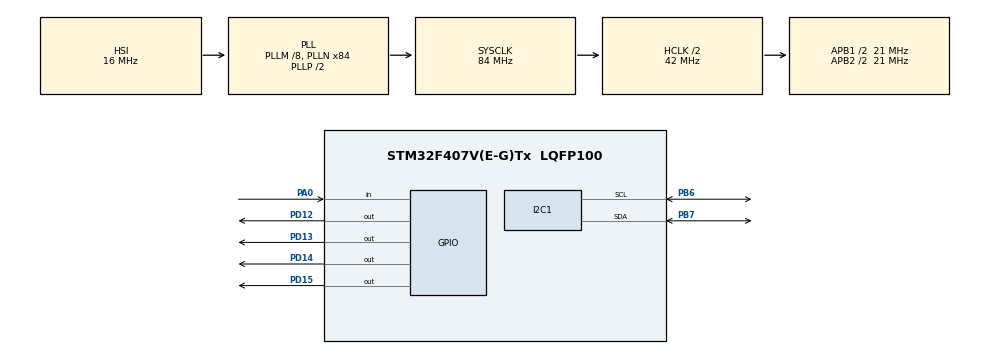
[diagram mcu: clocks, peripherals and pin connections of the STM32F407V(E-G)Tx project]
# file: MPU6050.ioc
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Mcu.Family=STM32F4
Mcu.Name=STM32F407V(E-G)Tx
Mcu.Package=LQFP100
NVIC.PriorityGroup=NVIC_PRIORITYGROUP_0
PA0-WKUP.Signal=GPIO_Input
PB6.Mode=I2C
PB6.Signal=I2C1_SCL
PB7.Mode=I2C
PB7.Signal=I2C1_SDA
PD12.Signal=GPIO_Output
PD13.Signal=GPIO_Output
PD14.Signal=GPIO_Output
PD15.Signal=GPIO_Output
ProjectManager.HeapSize=0x200
ProjectManager.StackSize=0x400
ProjectManager.TargetToolchain=STM32CubeIDE
RCC.48MHZClocksFreq_Value=24000000
RCC.AHBCLKDivider=RCC_SYSCLK_DIV2
RCC.AHBFreq_Value=42000000
RCC.APB1CLKDivider=RCC_HCLK_DIV2
RCC.APB1Freq_Value=21000000
RCC.APB1TimFreq_Value=42000000
RCC.APB2CLKDivider=RCC_HCLK_DIV2
RCC.APB2Freq_Value=21000000
RCC.APB2TimFreq_Value=42000000
RCC.CortexFreq_Value=42000000
RCC.HCLKFreq_Value=42000000
RCC.HSE_VALUE=8000000
RCC.HSI_VALUE=16000000
RCC.LSE_VALUE=32768
RCC.PLLM=8
RCC.PLLN=84
RCC.PLLQ=7
RCC.SYSCLKFreq_VALUE=84000000
RCC.SYSCLKSource=RCC_SYSCLKSOURCE_PLLCLK
RCC.VCOOutputFreq_Value=168000000
board=STM32F407G-DISC1

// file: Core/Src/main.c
/* USER CODE BEGIN Header */
/**
  ******************************************************************************
  * @file           : main.c
  * @brief          : Main program body
  ******************************************************************************
  * @attention
  *
  * Copyright (c) 2023 STMicroelectronics.
  * All rights reserved.
  *
  * This software is licensed under terms that can be found in the LICENSE file
  * in the root directory of this software component.
  * If no LICENSE file comes with this software, it is provided AS-IS.
  *
  ******************************************************************************
  */
/* USER CODE END Header */
#include "main.h"

/* USER CODE BEGIN Includes */
#include "TJ_MPU6050.h"
/* USER CODE END Includes */

I2C_HandleTypeDef hi2c1;

void SystemClock_Config(void);
static void MX_GPIO_Init(void);
static void MX_I2C1_Init(void);

/* USER CODE BEGIN 0 */
RawData_Def myAccelRAW, myGyroRAW;
ScaledData_Def myAccelSCALED, myGyroSCALED;
/* USER CODE END 0 */

int main(void)
{
  /* USER CODE BEGIN 1 */
	MPU_ConfigTypeDef myMPUConfig;
  /* USER CODE END 1 */

  /* MCU Configuration--------------------------------------------------------*/

  /* Reset of all peripherals, Initializes the Flash interface and the Systick. */
  HAL_Init();

  /* Configure the system clock */
  SystemClock_Config();

  /* Initialize all configured peripherals */
  MX_GPIO_Init();
  MX_I2C1_Init();
  /* USER CODE BEGIN 2 */

//1. Initialize the MPU6050 module
  MPU6050_Init(&hi2c1);

//2. Call the config
  myMPUConfig.Accel_Full_Scale = AFS_SEL_2g;
  myMPUConfig.CONFIG_DLPF = DLPF_184A_188G_Hz;
  myMPUConfig.ClockSource = Internal_8MHz;
  myMPUConfig.Gyro_Full_Scale = FS_SEL_2000;
  myMPUConfig.Sleep_Mode_Bit = 0;
  MPU6050_Config(&myMPUConfig);
  /* USER CODE END 2 */

  /* Infinite loop */
  while (1)
  {

    /* USER CODE BEGIN 3 */
	  //RAW Data
	  MPU6050_Get_Accel_RawData(&myAccelRAW);
	  MPU6050_Get_Gyro_RawData(&myGyroRAW);

	  HAL_GPIO_WritePin(GPIOD, GPIO_PIN_12, GPIO_PIN_SET);

	  //SCALE DATA
	  MPU6050_Get_Accel_Scale(&myAccelSCALED);
	  MPU6050_Get_Gyro_Scale(&myGyroSCALED);
	  HAL_Delay(100);

  }
  /* USER CODE END 3 */
}

void SystemClock_Config(void)
{
  RCC_OscInitTypeDef RCC_OscInitStruct = {0};
  RCC_ClkInitTypeDef RCC_ClkInitStruct = {0};

  /** Configure the main internal regulator output voltage
  */
  __HAL_RCC_PWR_CLK_ENABLE();
  __HAL_PWR_VOLTAGESCALING_CONFIG(PWR_REGULATOR_VOLTAGE_SCALE1);

  /** Initializes the RCC Oscillators according to the specified parameters
  * in the RCC_OscInitTypeDef structure.
  */
  RCC_OscInitStruct.OscillatorType = RCC_OSCILLATORTYPE_HSI;
  RCC_OscInitStruct.HSIState = RCC_HSI_ON;
  RCC_OscInitStruct.HSICalibrationValue = RCC_HSICALIBRATION_DEFAULT;
  RCC_OscInitStruct.PLL.PLLState = RCC_PLL_ON;
  RCC_OscInitStruct.PLL.PLLSource = RCC_PLLSOURCE_HSI;
  RCC_OscInitStruct.PLL.PLLM = 8;
  RCC_OscInitStruct.PLL.PLLN = 84;
  RCC_OscInitStruct.PLL.PLLP = RCC_PLLP_DIV2;
  RCC_OscInitStruct.PLL.PLLQ = 7;
  if (HAL_RCC_OscConfig(&RCC_OscInitStruct) != HAL_OK)
  {
    Error_Handler();
  }

  /** Initializes the CPU, AHB and APB buses clocks
  */
  RCC_ClkInitStruct.ClockType = RCC_CLOCKTYPE_HCLK|RCC_CLOCKTYPE_SYSCLK
                              |RCC_CLOCKTYPE_PCLK1|RCC_CLOCKTYPE_PCLK2;
  RCC_ClkInitStruct.SYSCLKSource = RCC_SYSCLKSOURCE_PLLCLK;
  RCC_ClkInitStruct.AHBCLKDivider = RCC_SYSCLK_DIV2;
  RCC_ClkInitStruct.APB1CLKDivider = RCC_HCLK_DIV2;
  RCC_ClkInitStruct.APB2CLKDivider = RCC_HCLK_DIV2;

  if (HAL_RCC_ClockConfig(&RCC_ClkInitStruct, FLASH_LATENCY_1) != HAL_OK)
  {
    Error_Handler();
  }
}

static void MX_I2C1_Init(void)
{

  hi2c1.Instance = I2C1;
  hi2c1.Init.ClockSpeed = 100000;
  hi2c1.Init.DutyCycle = I2C_DUTYCYCLE_2;
  hi2c1.Init.OwnAddress1 = 0;
  hi2c1.Init.AddressingMode = I2C_ADDRESSINGMODE_7BIT;
  hi2c1.Init.DualAddressMode = I2C_DUALADDRESS_DISABLE;
  hi2c1.Init.OwnAddress2 = 0;
  hi2c1.Init.GeneralCallMode = I2C_GENERALCALL_DISABLE;
  hi2c1.Init.NoStretchMode = I2C_NOSTRETCH_DISABLE;
  if (HAL_I2C_Init(&hi2c1) != HAL_OK)
  {
    Error_Handler();
  }

}

static void MX_GPIO_Init(void)
{
  GPIO_InitTypeDef GPIO_InitStruct = {0};

  /* GPIO Ports Clock Enable */
  __HAL_RCC_GPIOA_CLK_ENABLE();
  __HAL_RCC_GPIOD_CLK_ENABLE();
  __HAL_RCC_GPIOB_CLK_ENABLE();

  /*Configure GPIO pin Output Level */
  HAL_GPIO_WritePin(GPIOD, GPIO_PIN_12|GPIO_PIN_13|GPIO_PIN_14|GPIO_PIN_15, GPIO_PIN_RESET);

  /*Configure GPIO pin : PA0 */
  GPIO_InitStruct.Pin = GPIO_PIN_0;
  GPIO_InitStruct.Mode = GPIO_MODE_INPUT;
  GPIO_InitStruct.Pull = GPIO_NOPULL;
  HAL_GPIO_Init(GPIOA, &GPIO_InitStruct);

  /*Configure GPIO pins : PD12 PD13 PD14 PD15 */
  GPIO_InitStruct.Pin = GPIO_PIN_12|GPIO_PIN_13|GPIO_PIN_14|GPIO_PIN_15;
  GPIO_InitStruct.Mode = GPIO_MODE_OUTPUT_PP;
  GPIO_InitStruct.Pull = GPIO_NOPULL;
  GPIO_InitStruct.Speed = GPIO_SPEED_FREQ_LOW;
  HAL_GPIO_Init(GPIOD, &GPIO_InitStruct);

}

void Error_Handler(void)
{
  __disable_irq();
  while (1)
  {
  }
}
